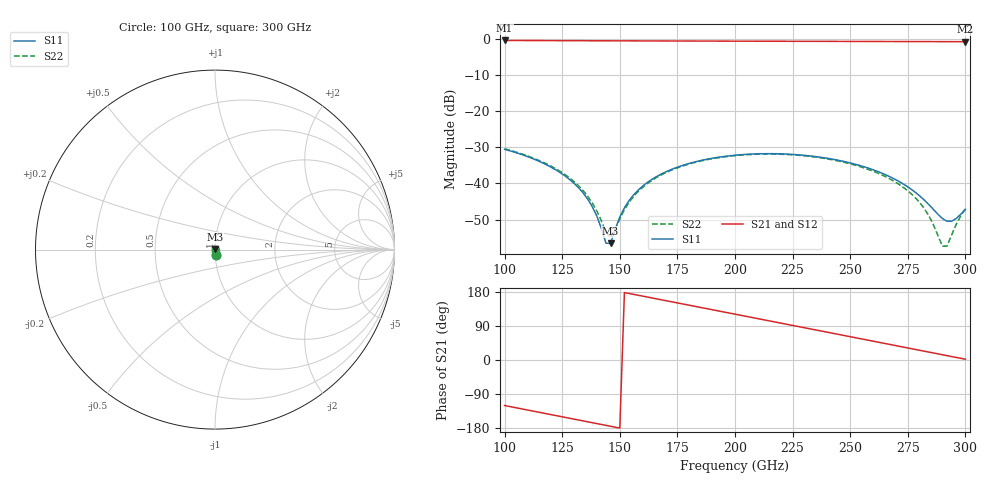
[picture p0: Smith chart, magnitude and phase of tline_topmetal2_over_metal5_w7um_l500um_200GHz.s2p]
#  GHZ S DB R 50
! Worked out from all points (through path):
!   101 points, 100 GHz to 300 GHz, reference 50 ohm
!   highest |S21| = -0.51 dB at 100 GHz (marker M1); lowest = -0.9 dB at 300 GHz (marker M2)
!   group delay of S21, straight-line fit = 3.3 ps
!   lowest |S11| = -56.6 dB at 146 GHz (marker M3), VSWR 1.00, Z = 49.9 + j0.13 ohm
!   |S11| at or under -10 dB: start of sweep to end of sweep
!   |S22| runs from -57.3 to -30.4 dB; largest |S21 - S12| = 1.1e-14
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100  -30.57 -77.0  -0.51 -120.1  -0.51 -120.1  -30.43 -77.8
120  -35.44 -101.1  -0.55 -144.0  -0.55 -144.0  -35.17 -102.6
134  -42.54 -122.6  -0.58 -160.6  -0.58 -160.6  -41.90 -125.3
140  -48.96 -141.1  -0.60 -167.8  -0.60 -167.8  -47.56 -144.5
144  -56.48 172.9  -0.60 -172.5  -0.60 -172.5  -53.48 178.8
146  -56.57 119.1  -0.61 -174.9  -0.61 -174.9  -54.93 138.8
150  -49.25 72.6  -0.62 -179.7  -0.62 -179.7  -49.77 82.7
154  -44.74 58.5  -0.62 175.6  -0.62 175.6  -45.22 63.8
160  -40.68 46.6  -0.63 168.5  -0.63 168.5  -41.02 49.5
168  -37.40 34.8  -0.65 159.0  -0.65 159.0  -37.63 36.5
182  -34.14 16.8  -0.68 142.3  -0.68 142.3  -34.29 17.7
200  -32.20 -5.3  -0.71 121.0  -0.71 121.0  -32.31 -4.7
218  -31.79 -27.4  -0.73 99.6  -0.73 99.6  -31.90 -26.7
234  -32.50 -47.5  -0.76 80.6  -0.76 80.6  -32.64 -46.4
252  -34.65 -71.3  -0.78 59.1  -0.78 59.1  -34.92 -69.2
268  -38.37 -95.7  -0.80 40.1  -0.80 40.1  -39.01 -91.1
276  -41.37 -111.5  -0.82 30.6  -0.82 30.6  -42.56 -104.2
282  -44.48 -128.3  -0.83 23.4  -0.83 23.4  -46.77 -117.8
290  -49.67 -173.1  -0.84 13.9  -0.84 13.9  -57.31 179.2
292  -50.42 168.2  -0.84 11.5  -0.84 11.5  -57.29 135.1
296  -49.66 129.6  -0.85 6.8  -0.85 6.8  -51.29 89.1
300  -47.20 102.9  -0.85 2.0  -0.85 2.0  -47.00 72.9
